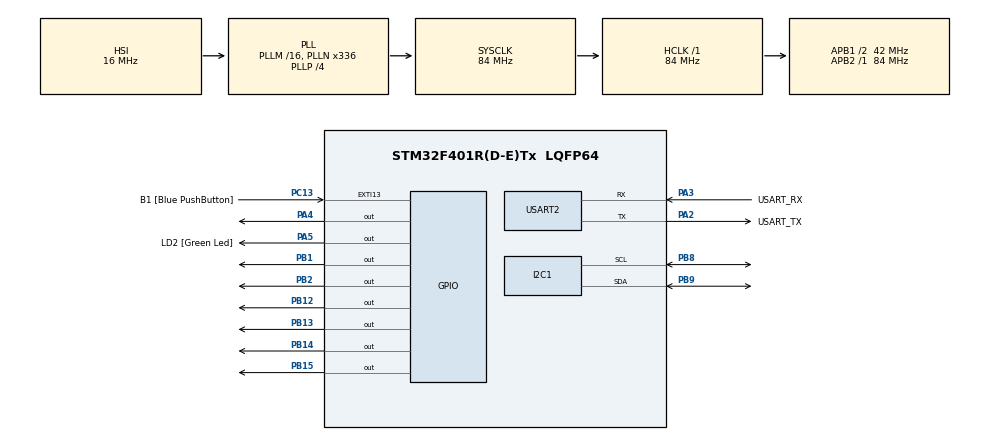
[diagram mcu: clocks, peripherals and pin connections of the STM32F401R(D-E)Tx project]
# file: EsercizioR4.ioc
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ADC1.Channel-0\#ChannelRegularConversion=ADC_CHANNEL_TEMPSENSOR
ADC1.DMAContinuousRequests=ENABLE
ADC1.ExternalTrigConv=ADC_EXTERNALTRIGCONV_T2_TRGO
ADC1.NbrOfConversion=1
ADC1.NbrOfConversionFlag=1
ADC1.Rank-0\#ChannelRegularConversion=1
ADC1.SamplingTime-0\#ChannelRegularConversion=ADC_SAMPLETIME_480CYCLES
ADC1.ScanConvMode=ENABLE
ADC1.master=1
Dma.ADC1.1.Direction=DMA_PERIPH_TO_MEMORY
Dma.ADC1.1.FIFOMode=DMA_FIFOMODE_DISABLE
Dma.ADC1.1.Instance=DMA2_Stream0
Dma.ADC1.1.MemDataAlignment=DMA_MDATAALIGN_HALFWORD
Dma.ADC1.1.MemInc=DMA_MINC_ENABLE
Dma.ADC1.1.Mode=DMA_CIRCULAR
Dma.ADC1.1.PeriphDataAlignment=DMA_PDATAALIGN_HALFWORD
Dma.ADC1.1.PeriphInc=DMA_PINC_DISABLE
Dma.ADC1.1.Priority=DMA_PRIORITY_HIGH
Dma.Request0=USART2_TX
Dma.Request1=ADC1
Dma.USART2_TX.0.Direction=DMA_MEMORY_TO_PERIPH
Dma.USART2_TX.0.FIFOMode=DMA_FIFOMODE_DISABLE
Dma.USART2_TX.0.Instance=DMA1_Stream6
Dma.USART2_TX.0.MemDataAlignment=DMA_MDATAALIGN_BYTE
Dma.USART2_TX.0.MemInc=DMA_MINC_ENABLE
Dma.USART2_TX.0.Mode=DMA_NORMAL
Dma.USART2_TX.0.PeriphDataAlignment=DMA_PDATAALIGN_BYTE
Dma.USART2_TX.0.PeriphInc=DMA_PINC_DISABLE
Dma.USART2_TX.0.Priority=DMA_PRIORITY_HIGH
Mcu.Family=STM32F4
Mcu.Name=STM32F401R(D-E)Tx
Mcu.Package=LQFP64
NVIC.DMA1_Stream6_IRQn=true\:0\:0\:false\:false\:true\:false\:true\:true
NVIC.DMA2_Stream0_IRQn=true\:0\:0\:false\:false\:true\:false\:true\:true
NVIC.PriorityGroup=NVIC_PRIORITYGROUP_4
NVIC.TIM2_IRQn=true\:0\:0\:false\:false\:true\:true\:true\:true
NVIC.TIM3_IRQn=true\:0\:0\:false\:false\:true\:true\:true\:true
NVIC.USART2_IRQn=true\:0\:0\:false\:false\:true\:true\:true\:true
PA1.Signal=ADCx_IN1
PA13.GPIO_Label=TMS
PA13.Mode=Trace_Asynchronous_SW
PA13.Signal=SYS_JTMS-SWDIO
PA14.GPIO_Label=TCK
PA14.Mode=Trace_Asynchronous_SW
PA14.Signal=SYS_JTCK-SWCLK
PA2.GPIO_Label=USART_TX
PA2.GPIO_Mode=GPIO_MODE_AF_PP
PA2.GPIO_PuPd=GPIO_NOPULL
PA2.GPIO_Speed=GPIO_SPEED_FREQ_LOW
PA2.Mode=Asynchronous
PA2.Signal=USART2_TX
PA3.GPIO_Label=USART_RX
PA3.GPIO_Mode=GPIO_MODE_AF_PP
PA3.GPIO_PuPd=GPIO_NOPULL
PA3.GPIO_Speed=GPIO_SPEED_FREQ_LOW
PA3.Mode=Asynchronous
PA3.Signal=USART2_RX
PA4.Signal=GPIO_Output
PA5.GPIO_Label=LD2 [Green Led]
PA5.GPIO_Mode=GPIO_MODE_OUTPUT_PP
PA5.GPIO_PuPd=GPIO_NOPULL
PA5.GPIO_Speed=GPIO_SPEED_FREQ_LOW
PA5.Signal=GPIO_Output
PB1.Signal=GPIO_Output
PB12.Signal=GPIO_Output
PB13.Signal=GPIO_Output
PB14.Signal=GPIO_Output
PB15.Signal=GPIO_Output
PB2.Signal=GPIO_Output
PB3.GPIO_Label=SWO
PB3.Mode=Trace_Asynchronous_SW
PB3.Signal=SYS_JTDO-SWO
PB8.Mode=I2C
PB8.Signal=I2C1_SCL
PB9.Mode=I2C
PB9.Signal=I2C1_SDA
PC13-ANTI_TAMP.GPIO_Label=B1 [Blue PushButton]
PC13-ANTI_TAMP.GPIO_ModeDefaultEXTI=GPIO_MODE_IT_FALLING
PC13-ANTI_TAMP.GPIO_PuPd=GPIO_NOPULL
PC13-ANTI_TAMP.Signal=GPXTI13
PC14-OSC32_IN.Mode=LSE-External-Oscillator
PC14-OSC32_IN.Signal=RCC_OSC32_IN
PC15-OSC32_OUT.Mode=LSE-External-Oscillator
PC15-OSC32_OUT.Signal=RCC_OSC32_OUT
PH0\ -\ OSC_IN.Mode=HSE-External-Clock-Source
PH0\ -\ OSC_IN.Signal=RCC_OSC_IN
PH1\ -\ OSC_OUT.Mode=HSE-External-Clock-Source
PH1\ -\ OSC_OUT.Signal=RCC_OSC_OUT
ProjectManager.HeapSize=0x200
ProjectManager.StackSize=0x400
ProjectManager.TargetToolchain=STM32CubeIDE
RCC.48MHZClocksFreq_Value=48000000
RCC.AHBFreq_Value=84000000
RCC.APB1CLKDivider=RCC_HCLK_DIV2
RCC.APB1Freq_Value=42000000
RCC.APB1TimFreq_Value=84000000
RCC.APB2Freq_Value=84000000
RCC.APB2TimFreq_Value=84000000
RCC.CortexFreq_Value=84000000
RCC.HCLKFreq_Value=84000000
RCC.HSE_VALUE=8000000
RCC.HSI_VALUE=16000000
RCC.PLLN=336
RCC.PLLP=RCC_PLLP_DIV4
RCC.PLLQ=7
RCC.SYSCLKFreq_VALUE=84000000
RCC.SYSCLKSource=RCC_SYSCLKSOURCE_PLLCLK
RCC.VCOOutputFreq_Value=336000000
SH.ADCx_IN1.0=ADC1_IN1
TIM2.Period=839999
TIM2.Prescaler=99
TIM2.TIM_MasterOutputTrigger=TIM_TRGO_UPDATE
TIM3.Period=8399
TIM3.Prescaler=9999
USART2.VirtualMode=VM_ASYNC
VP_ADC1_TempSens_Input.Mode=IN-TempSens
VP_TIM2_VS_ClockSourceINT.Mode=Internal
VP_TIM3_VS_ClockSourceINT.Mode=Internal
board=NUCLEO-F401RE

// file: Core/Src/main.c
/* USER CODE BEGIN Header */
/**
  ******************************************************************************
  * @file           : main.c
  * @brief          : Main program body
  ******************************************************************************
  * @attention
  *
  * Copyright (c) 2026 STMicroelectronics.
  * All rights reserved.
  *
  * This software is licensed under terms that can be found in the LICENSE file
  * in the root directory of this software component.
  * If no LICENSE file comes with this software, it is provided AS-IS.
  *
  ******************************************************************************
  */
/* USER CODE END Header */
#include "main.h"

/* USER CODE BEGIN Includes */
#include "stdio.h"
#include "string.h"
#include "PMDB16_LCD.h"

/* USER CODE END Includes */

/* USER CODE BEGIN PD */
#define LM75_ADDR 0b10010000
#define LM75_TEMP_REGISTER 0x00
/* USER CODE END PD */

ADC_HandleTypeDef hadc1;
DMA_HandleTypeDef hdma_adc1;

I2C_HandleTypeDef hi2c1;

TIM_HandleTypeDef htim2;
TIM_HandleTypeDef htim3;

UART_HandleTypeDef huart2;
DMA_HandleTypeDef hdma_usart2_tx;

/* USER CODE BEGIN PV */
uint16_t adc_buf; // Solo 1 campione

float v_temp_sense_est = 0.0f;
float temp_est = 0.0f;
float temp_int;

int ready_int=0;
int ready_est=0;

char lcd_buffer_int[17]; // Buffer per la stringa (16 char + terminatore)
char lcd_buffer_est[17]; // Buffer per la stringa (16 char + terminatore)
int first_time=1;
int second_time=0;
int est_first=0;
int int_first=0;

/* USER CODE END PV */

void SystemClock_Config(void);
static void MX_GPIO_Init(void);
static void MX_DMA_Init(void);
static void MX_USART2_UART_Init(void);
static void MX_ADC1_Init(void);
static void MX_TIM2_Init(void);
static void MX_TIM3_Init(void);
static void MX_I2C1_Init(void);

/* USER CODE BEGIN 0 */
static void LM75B_ReadTemp(uint8_t *out) // T INTERNA
{
    uint8_t r1[2], r2[2];

    HAL_I2C_Mem_Read(&hi2c1, LM75_ADDR, LM75_TEMP_REGISTER, I2C_MEMADD_SIZE_8BIT, r1, 2, HAL_MAX_DELAY);
    HAL_I2C_Mem_Read(&hi2c1, LM75_ADDR, LM75_TEMP_REGISTER, I2C_MEMADD_SIZE_8BIT, r2, 2, HAL_MAX_DELAY);

    if (r1[0] != r2[0])
    {
        /* MSByte cambiato tra le due letture -> possibile "torn read",
           scarto entrambe e ne faccio una terza, ora "pulita" */
        HAL_I2C_Mem_Read(&hi2c1, LM75_ADDR, LM75_TEMP_REGISTER, I2C_MEMADD_SIZE_8BIT, out, 2, HAL_MAX_DELAY);
    }
    else
    {
        /* le due letture concordano -> il dato è coerente, uso la seconda */
        out[0] = r2[0];
        out[1] = r2[1];
    }
}

void HAL_TIM_PeriodElapsedCallback(TIM_HandleTypeDef *htim)
{
    if (htim->Instance == TIM3) // T INTERNA
    {
        uint8_t raw_bytes[2];
        int16_t raw;

        LM75B_ReadTemp(raw_bytes);

        /* raw_bytes[0]=MSB, raw_bytes[1]=LSB, entrambi uint8_t: nessuna
           estensione di segno indesiderata nella combinazione */
        raw = (int16_t)((raw_bytes[0] << 8) | raw_bytes[1]);
        raw >>= 7;                 /* i dati validi sono i 9 bit alti (D8..D0) */

        temp_int = raw * 0.5f;       /* LSB = 0.5 °C per l'LM75 */

        //len = sprintf((char*)tx_buf, "Temperature: %.3f °C\r\n", temp);
        //HAL_UART_Transmit_DMA(&huart2, tx_buf, len);

        ready_int=1;
    }
}
void HAL_ADC_ConvCpltCallback(ADC_HandleTypeDef *hadc) // T ESTERNA
{
	// Il Trigger (Timer 2 a 1Hz) avvia la conversione ogni secondo
	// Quando arriva l'EoC aggiorniamo i valori

	v_temp_sense_est = ((float)adc_buf * 3.3f) / 4095.0f;

	temp_est = ((v_temp_sense_est - 0.76f) / 0.0025f) + 25.0f;

	ready_est=1;

	// LCD

	sprintf(lcd_buffer_int, "Interna: %.1fC", temp_int);
	sprintf(lcd_buffer_est, "Esterna: %.1fC", temp_est);

	if(first_time){
		if(ready_int){
			lcd_println(lcd_buffer_int, 0);
			int_first = 1;

		}else if(ready_est){
			lcd_println(lcd_buffer_est, 0);
			est_first=1;
		}

		first_time=0;
		second_time=1;

	}else if(second_time){
		if(int_first){
			lcd_println(lcd_buffer_int, 0);
			lcd_println(lcd_buffer_est, 1);
		}else if(est_first){
			lcd_println(lcd_buffer_est, 0);
			lcd_println(lcd_buffer_int, 1);
		}
		second_time=0;
	}else{
		if(int_first){
			lcd_println(lcd_buffer_est, 0);
			lcd_println(lcd_buffer_int, 1);
			int_first=0;
			est_first=1;
		}
		else if(est_first){
			lcd_println(lcd_buffer_int, 0);
			lcd_println(lcd_buffer_est, 1);
			est_first=0;
			int_first=1;
		}
	}

}

/* USER CODE END 0 */

int main(void)
{

  /* MCU Configuration--------------------------------------------------------*/

  /* Reset of all peripherals, Initializes the Flash interface and the Systick. */
  HAL_Init();

  /* Configure the system clock */
  SystemClock_Config();

  /* Initialize all configured peripherals */
  MX_GPIO_Init();
  MX_DMA_Init();
  MX_USART2_UART_Init();
  MX_ADC1_Init();
  MX_TIM2_Init();
  MX_TIM3_Init();
  MX_I2C1_Init();
  /* USER CODE BEGIN 2 */
  HAL_TIM_Base_Start(&htim2); // Timer 2 (Trigger ADC)
  HAL_ADC_Start_DMA(&hadc1, (uint32_t*)&adc_buf, 1);   // ADC (DMA Mode), buffer da 1 campioni
  HAL_TIM_Base_Start_IT(&htim3); // Timer 3 1Hz

  lcd_initialize();

  lcd_backlight_ON();

  /* USER CODE END 2 */

  /* Infinite loop */
  while (1)
  {

  }
}

void SystemClock_Config(void)
{
  RCC_OscInitTypeDef RCC_OscInitStruct = {0};
  RCC_ClkInitTypeDef RCC_ClkInitStruct = {0};

  /** Configure the main internal regulator output voltage
  */
  __HAL_RCC_PWR_CLK_ENABLE();
  __HAL_PWR_VOLTAGESCALING_CONFIG(PWR_REGULATOR_VOLTAGE_SCALE2);

  /** Initializes the RCC Oscillators according to the specified parameters
  * in the RCC_OscInitTypeDef structure.
  */
  RCC_OscInitStruct.OscillatorType = RCC_OSCILLATORTYPE_HSI;
  RCC_OscInitStruct.HSIState = RCC_HSI_ON;
  RCC_OscInitStruct.HSICalibrationValue = RCC_HSICALIBRATION_DEFAULT;
  RCC_OscInitStruct.PLL.PLLState = RCC_PLL_ON;
  RCC_OscInitStruct.PLL.PLLSource = RCC_PLLSOURCE_HSI;
  RCC_OscInitStruct.PLL.PLLM = 16;
  RCC_OscInitStruct.PLL.PLLN = 336;
  RCC_OscInitStruct.PLL.PLLP = RCC_PLLP_DIV4;
  RCC_OscInitStruct.PLL.PLLQ = 7;
  if (HAL_RCC_OscConfig(&RCC_OscInitStruct) != HAL_OK)
  {
    Error_Handler();
  }

  /** Initializes the CPU, AHB and APB buses clocks
  */
  RCC_ClkInitStruct.ClockType = RCC_CLOCKTYPE_HCLK|RCC_CLOCKTYPE_SYSCLK
                              |RCC_CLOCKTYPE_PCLK1|RCC_CLOCKTYPE_PCLK2;
  RCC_ClkInitStruct.SYSCLKSource = RCC_SYSCLKSOURCE_PLLCLK;
  RCC_ClkInitStruct.AHBCLKDivider = RCC_SYSCLK_DIV1;
  RCC_ClkInitStruct.APB1CLKDivider = RCC_HCLK_DIV2;
  RCC_ClkInitStruct.APB2CLKDivider = RCC_HCLK_DIV1;

  if (HAL_RCC_ClockConfig(&RCC_ClkInitStruct, FLASH_LATENCY_2) != HAL_OK)
  {
    Error_Handler();
  }
}

static void MX_ADC1_Init(void)
{

  ADC_ChannelConfTypeDef sConfig = {0};

  /** Configure the global features of the ADC (Clock, Resolution, Data Alignment and number of conversion)
  */
  hadc1.Instance = ADC1;
  hadc1.Init.ClockPrescaler = ADC_CLOCK_SYNC_PCLK_DIV4;
  hadc1.Init.Resolution = ADC_RESOLUTION_12B;
  hadc1.Init.ScanConvMode = ENABLE;
  hadc1.Init.ContinuousConvMode = DISABLE;
  hadc1.Init.DiscontinuousConvMode = DISABLE;
  hadc1.Init.ExternalTrigConvEdge = ADC_EXTERNALTRIGCONVEDGE_RISING;
  hadc1.Init.ExternalTrigConv = ADC_EXTERNALTRIGCONV_T2_TRGO;
  hadc1.Init.DataAlign = ADC_DATAALIGN_RIGHT;
  hadc1.Init.NbrOfConversion = 1;
  hadc1.Init.DMAContinuousRequests = ENABLE;
  hadc1.Init.EOCSelection = ADC_EOC_SINGLE_CONV;
  if (HAL_ADC_Init(&hadc1) != HAL_OK)
  {
    Error_Handler();
  }

  /** Configure for the selected ADC regular channel its corresponding rank in the sequencer and its sample time.
  */
  sConfig.Channel = ADC_CHANNEL_TEMPSENSOR;
  sConfig.Rank = 1;
  sConfig.SamplingTime = ADC_SAMPLETIME_480CYCLES;
  if (HAL_ADC_ConfigChannel(&hadc1, &sConfig) != HAL_OK)
  {
    Error_Handler();
  }

}

static void MX_I2C1_Init(void)
{

  hi2c1.Instance = I2C1;
  hi2c1.Init.ClockSpeed = 100000;
  hi2c1.Init.DutyCycle = I2C_DUTYCYCLE_2;
  hi2c1.Init.OwnAddress1 = 0;
  hi2c1.Init.AddressingMode = I2C_ADDRESSINGMODE_7BIT;
  hi2c1.Init.DualAddressMode = I2C_DUALADDRESS_DISABLE;
  hi2c1.Init.OwnAddress2 = 0;
  hi2c1.Init.GeneralCallMode = I2C_GENERALCALL_DISABLE;
  hi2c1.Init.NoStretchMode = I2C_NOSTRETCH_DISABLE;
  if (HAL_I2C_Init(&hi2c1) != HAL_OK)
  {
    Error_Handler();
  }

}

static void MX_TIM2_Init(void)
{

  TIM_ClockConfigTypeDef sClockSourceConfig = {0};
  TIM_MasterConfigTypeDef sMasterConfig = {0};

  htim2.Instance = TIM2;
  htim2.Init.Prescaler = 99;
  htim2.Init.CounterMode = TIM_COUNTERMODE_UP;
  htim2.Init.Period = 839999;
  htim2.Init.ClockDivision = TIM_CLOCKDIVISION_DIV1;
  htim2.Init.AutoReloadPreload = TIM_AUTORELOAD_PRELOAD_DISABLE;
  if (HAL_TIM_Base_Init(&htim2) != HAL_OK)
  {
    Error_Handler();
  }
  sClockSourceConfig.ClockSource = TIM_CLOCKSOURCE_INTERNAL;
  if (HAL_TIM_ConfigClockSource(&htim2, &sClockSourceConfig) != HAL_OK)
  {
    Error_Handler();
  }
  sMasterConfig.MasterOutputTrigger = TIM_TRGO_UPDATE;
  sMasterConfig.MasterSlaveMode = TIM_MASTERSLAVEMODE_DISABLE;
  if (HAL_TIMEx_MasterConfigSynchronization(&htim2, &sMasterConfig) != HAL_OK)
  {
    Error_Handler();
  }

}

static void MX_TIM3_Init(void)
{

  TIM_ClockConfigTypeDef sClockSourceConfig = {0};
  TIM_MasterConfigTypeDef sMasterConfig = {0};

  htim3.Instance = TIM3;
  htim3.Init.Prescaler = 9999;
  htim3.Init.CounterMode = TIM_COUNTERMODE_UP;
  htim3.Init.Period = 8399;
  htim3.Init.ClockDivision = TIM_CLOCKDIVISION_DIV1;
  htim3.Init.AutoReloadPreload = TIM_AUTORELOAD_PRELOAD_DISABLE;
  if (HAL_TIM_Base_Init(&htim3) != HAL_OK)
  {
    Error_Handler();
  }
  sClockSourceConfig.ClockSource = TIM_CLOCKSOURCE_INTERNAL;
  if (HAL_TIM_ConfigClockSource(&htim3, &sClockSourceConfig) != HAL_OK)
  {
    Error_Handler();
  }
  sMasterConfig.MasterOutputTrigger = TIM_TRGO_RESET;
  sMasterConfig.MasterSlaveMode = TIM_MASTERSLAVEMODE_DISABLE;
  if (HAL_TIMEx_MasterConfigSynchronization(&htim3, &sMasterConfig) != HAL_OK)
  {
    Error_Handler();
  }

}

static void MX_USART2_UART_Init(void)
{

  huart2.Instance = USART2;
  huart2.Init.BaudRate = 115200;
  huart2.Init.WordLength = UART_WORDLENGTH_8B;
  huart2.Init.StopBits = UART_STOPBITS_1;
  huart2.Init.Parity = UART_PARITY_NONE;
  huart2.Init.Mode = UART_MODE_TX_RX;
  huart2.Init.HwFlowCtl = UART_HWCONTROL_NONE;
  huart2.Init.OverSampling = UART_OVERSAMPLING_16;
  if (HAL_UART_Init(&huart2) != HAL_OK)
  {
    Error_Handler();
  }

}

static void MX_DMA_Init(void)
{

  /* DMA controller clock enable */
  __HAL_RCC_DMA1_CLK_ENABLE();
  __HAL_RCC_DMA2_CLK_ENABLE();

  /* DMA interrupt init */
  /* DMA1_Stream6_IRQn interrupt configuration */
  HAL_NVIC_SetPriority(DMA1_Stream6_IRQn, 0, 0);
  HAL_NVIC_EnableIRQ(DMA1_Stream6_IRQn);
  /* DMA2_Stream0_IRQn interrupt configuration */
  HAL_NVIC_SetPriority(DMA2_Stream0_IRQn, 0, 0);
  HAL_NVIC_EnableIRQ(DMA2_Stream0_IRQn);

}

static void MX_GPIO_Init(void)
{
  GPIO_InitTypeDef GPIO_InitStruct = {0};

  /* GPIO Ports Clock Enable */
  __HAL_RCC_GPIOC_CLK_ENABLE();
  __HAL_RCC_GPIOH_CLK_ENABLE();
  __HAL_RCC_GPIOA_CLK_ENABLE();
  __HAL_RCC_GPIOB_CLK_ENABLE();

  /*Configure GPIO pin Output Level */
  HAL_GPIO_WritePin(GPIOA, GPIO_PIN_4|LD2_Pin, GPIO_PIN_RESET);

  /*Configure GPIO pin Output Level */
  HAL_GPIO_WritePin(GPIOB, GPIO_PIN_1|GPIO_PIN_2|GPIO_PIN_12|GPIO_PIN_13
                          |GPIO_PIN_14|GPIO_PIN_15, GPIO_PIN_RESET);

  /*Configure GPIO pin : B1_Pin */
  GPIO_InitStruct.Pin = B1_Pin;
  GPIO_InitStruct.Mode = GPIO_MODE_IT_FALLING;
  GPIO_InitStruct.Pull = GPIO_NOPULL;
  HAL_GPIO_Init(B1_GPIO_Port, &GPIO_InitStruct);

  /*Configure GPIO pins : PA4 LD2_Pin */
  GPIO_InitStruct.Pin = GPIO_PIN_4|LD2_Pin;
  GPIO_InitStruct.Mode = GPIO_MODE_OUTPUT_PP;
  GPIO_InitStruct.Pull = GPIO_NOPULL;
  GPIO_InitStruct.Speed = GPIO_SPEED_FREQ_LOW;
  HAL_GPIO_Init(GPIOA, &GPIO_InitStruct);

  /*Configure GPIO pins : PB1 PB2 PB12 PB13
                           PB14 PB15 */
  GPIO_InitStruct.Pin = GPIO_PIN_1|GPIO_PIN_2|GPIO_PIN_12|GPIO_PIN_13
                          |GPIO_PIN_14|GPIO_PIN_15;
  GPIO_InitStruct.Mode = GPIO_MODE_OUTPUT_PP;
  GPIO_InitStruct.Pull = GPIO_NOPULL;
  GPIO_InitStruct.Speed = GPIO_SPEED_FREQ_LOW;
  HAL_GPIO_Init(GPIOB, &GPIO_InitStruct);

}

void Error_Handler(void)
{
  __disable_irq();
  while (1)
  {
  }
}
